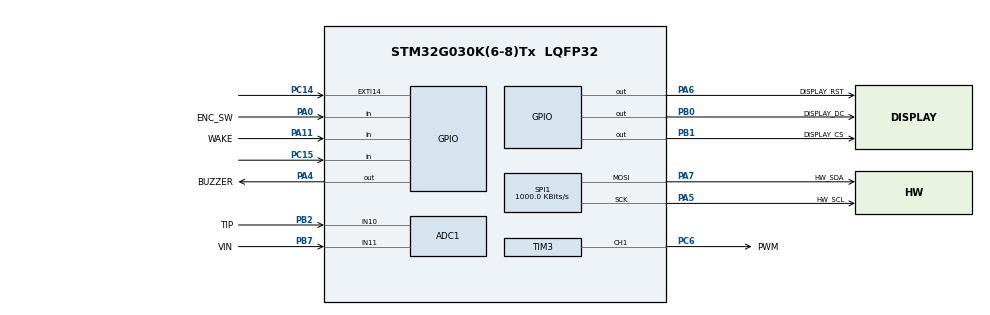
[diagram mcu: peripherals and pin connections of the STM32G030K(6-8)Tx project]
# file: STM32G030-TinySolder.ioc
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ADC1.Channel-1\#ChannelRegularConversion=ADC_CHANNEL_10
ADC1.ClockPrescaler=ADC_CLOCK_SYNC_PCLK_DIV4
ADC1.ContinuousConvMode=DISABLE
ADC1.DMAContinuousRequests=DISABLE
ADC1.DiscontinuousConvMode=DISABLE
ADC1.EOCSelection=ADC_EOC_SINGLE_CONV
ADC1.NbrOfConversion=1
ADC1.NbrOfConversionFlag=1
ADC1.Overrun=ADC_OVR_DATA_OVERWRITTEN
ADC1.Rank-1\#ChannelRegularConversion=1
ADC1.SamplingTime-1\#ChannelRegularConversion=ADC_SAMPLINGTIME_COMMON_1
ADC1.SamplingTimeCommon1=ADC_SAMPLETIME_160CYCLES_5
ADC1.SamplingTimeCommon2=ADC_SAMPLETIME_160CYCLES_5
ADC1.SelectedChannel=ADC_CHANNEL_TEMPSENSOR|ADC_CHANNEL_VREFINT|ADC_CHANNEL_10|ADC_CHANNEL_11
ADC1.Sequencer=FULLY_CONFIGURABLE
ADC1.TriggerFrequencyMode=ADC_TRIGGER_FREQ_LOW
ADC1.master=1
Mcu.Family=STM32G0
Mcu.Name=STM32G030K(6-8)Tx
Mcu.Package=LQFP32
NVIC.EXTI4_15_IRQn=true\:2\:0\:true\:true\:true\:1\:true\:true\:true
NVIC.TIM14_IRQn=true\:3\:0\:true\:true\:true\:2\:true\:true\:true
PA0.GPIO_Label=ENC_SW
PA0.Signal=GPIO_Input
PA11\ [PA9].GPIO_Label=WAKE
PA11\ [PA9].Signal=GPIO_Input
PA13.Mode=Serial_Wire
PA13.Signal=SYS_SWDIO
PA14-BOOT0.Mode=Serial_Wire
PA14-BOOT0.Signal=SYS_SWCLK
PA4.GPIO_Label=BUZZER
PA4.Signal=GPIO_Output
PA5.GPIO_Label=HW_SCL
PA5.Mode=TX_Only_Simplex_Unidirect_Master
PA5.Signal=SPI1_SCK
PA6.GPIO_Label=DISPLAY_RST
PA6.Signal=GPIO_Output
PA7.GPIO_Label=HW_SDA
PA7.Mode=TX_Only_Simplex_Unidirect_Master
PA7.Signal=SPI1_MOSI
PB0.GPIO_Label=DISPLAY_DC
PB0.Signal=GPIO_Output
PB1.GPIO_Label=DISPLAY_CS
PB1.Signal=GPIO_Output
PB2.GPIO_Label=TIP
PB2.Signal=SharedAnalog_PB2
PB7.GPIO_Label=VIN
PB7.Signal=SharedAnalog_PB7
PC14-OSC32_IN\ (PC14).Signal=GPXTI14
PC15-OSC32_OUT\ (PC15).Signal=GPIO_Input
PC6.GPIO_Label=PWM
PC6.Signal=S_TIM3_CH1
ProjectManager.HeapSize=0x200
ProjectManager.StackSize=0x400
ProjectManager.TargetToolchain=MDK-ARM V5.32
RCC.ADCCLockSelection=RCC_ADCCLKSOURCE_HSI
RCC.ADCFreq_Value=16000000
RCC.AHBFreq_Value=16000000
RCC.APB1CLKDivider=RCC_HCLK_DIV2
RCC.CortexFreq_Value=16000000
RCC.EXTERNAL_CLOCK_VALUE=12288000
RCC.HCLKFreq_Value=16000000
RCC.HSE_VALUE=8000000
RCC.HSI_VALUE=16000000
RCC.LSE_VALUE=32768
RCC.SYSCLKFreq_VALUE=16000000
RCC.VCOOutputFreq_Value=128000000
SH.S_TIM3_CH1.0=TIM3_CH1,PWM Generation1 CH1
SH.SharedAnalog_PB2.0=GPIO_Analog
SH.SharedAnalog_PB2.1=ADC1_IN10,IN10
SH.SharedAnalog_PB7.0=GPIO_Analog
SH.SharedAnalog_PB7.1=ADC1_IN11,IN11
SPI1.BaudRatePrescaler=SPI_BAUDRATEPRESCALER_8
SPI1.CLKPhase=SPI_PHASE_2EDGE
SPI1.CLKPolarity=SPI_POLARITY_HIGH
SPI1.CalculateBaudRate=1000.0 KBits/s
SPI1.Direction=SPI_DIRECTION_2LINES
SPI1.Mode=SPI_MODE_MASTER
SPI1.VirtualType=VM_MASTER
TIM14.AutoReloadPreload=TIM_AUTORELOAD_PRELOAD_ENABLE
TIM14.Period=999
TIM14.Prescaler=15
TIM3.AutoReloadPreload=TIM_AUTORELOAD_PRELOAD_DISABLE
TIM3.Channel-PWM\ Generation1\ CH1=TIM_CHANNEL_1
TIM3.OC1Preload_PWM=DISABLE
TIM3.OCFastMode_PWM-PWM\ Generation1\ CH1=TIM_OCFAST_ENABLE
TIM3.Period=1999
TIM3.Prescaler=63
TIM3.Pulse-PWM\ Generation1\ CH1=0
VP_ADC1_TempSens_Input.Mode=IN-TempSens
VP_ADC1_Vref_Input.Mode=IN-Vrefint
VP_TIM14_VS_ClockSourceINT.Mode=Enable_Timer
VP_TIM3_VS_ClockSourceINT.Mode=Internal
board=custom

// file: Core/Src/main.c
/* USER CODE BEGIN Header */
/**
  ******************************************************************************
  * @file           : main.c
  * @brief          : Main program body
  ******************************************************************************
  * @attention
  *
  * Copyright (c) 2025 STMicroelectronics.
  * All rights reserved.
  *
  * This software is licensed under terms that can be found in the LICENSE file
  * in the root directory of this software component.
  * If no LICENSE file comes with this software, it is provided AS-IS.
  *
  ******************************************************************************
  */
/* USER CODE END Header */
#include "main.h"
#include "adc.h"
#include "spi.h"
#include "tim.h"
#include "gpio.h"

/* USER CODE BEGIN Includes */
#include "EventRecorder.h"
#include "stdlib.h"
#include "arm_math.h"
/* USER CODE END Includes */

/* USER CODE BEGIN PTD */

// 烙铁控制状态
typedef enum {
    STATE_HEATING = 0,      // 加热并等待测温间隔
    STATE_PWM_OFF_WAIT_STABLE, // 关闭PWM等待温度稳定
    STATE_MEASURE_TEMP,     // 读取ADC温度
    STATE_CALCULATE_PWM,    // 计算新的PWM
    STATE_UPDATE_DISPLAY    // 更新OLED显示
} T12_Control_State_t;

// 温度校准点 (ADC原始值 -> 实际温度 °C)
// 结构体定义
typedef struct {
    uint16_t adc_val;
    uint16_t temp_c;
} TempCalibrationPoint;

/* USER CODE END PTD */

/* USER CODE BEGIN PD */

// PWM配置
#define PWM_PERIOD          2000 // TIM3 ARR+1, 例如 ARR=1999
#define PWM_MAX_DUTY        (PWM_PERIOD - 1)

// PID 控制参数
#define PID_KP              5.f
#define PID_KI              1.f
#define PID_KD              0.2f
#define PID_INTEGRAL_MAX    1999.0f
#define PID_INTEGRAL_MIN    0.0f
#define PID_DELTA_T         1 // 50ms

#define NUM_CALIBRATION_POINTS (sizeof(temp_calibration_table) / sizeof(TempCalibrationPoint))
#define DEFAULT_TARGET_TEMP 205
#define BANG_BANG_THRESHOLD 20 // 切换PID控制的温差阈值
/* USER CODE END PD */

/* USER CODE BEGIN PV */

// 校准数据表
const TempCalibrationPoint temp_calibration_table[] = {
    {0,    25},       // ADC为0时，近似室温
    {1212, 216},      // 校准点1
    {1696, 308},      // 校准点2
    {2181, 390},      // 校准点3
    // 可以根据需要添加更多点
};

arm_pid_instance_f32 PID = {
        .Kp = PID_KP,
        .Ki = PID_KI * PID_DELTA_T,
        .Kd = PID_KD / PID_DELTA_T
    };

T12_Control_State_t t12_state = STATE_PWM_OFF_WAIT_STABLE;
uint32_t uWTick = 0;   // 自芯片启动以来的ms
uint32_t last_time_check = 0;   // 上次执行时间
const uint32_t ADC_STABLE_WAIT_MS = 1; // 测温稳定等待时间
const uint32_t CONTROL_PERIOD_MS = 100; // 主控制周期

// 存储编码器计数值（旋转步数）
volatile int16_t rotaryCount = 0;
// 存储上一次读取到的 A相/CLK 的状态
volatile uint8_t lastCLKState = 0;

char sprintf_tmp[16];
static u8g2_t u8g2;
uint16_t t12_now = 0, t12_pwm = 0, temp_target = DEFAULT_TARGET_TEMP;
float input, output=0;
// 屏幕刷新计时器和周期
uint32_t last_display_time = 0; // 上次屏幕刷新时间
const uint32_t DISPLAY_PERIOD_MS = 100; // 屏幕刷新周期 100ms
/* USER CODE END PV */

void SystemClock_Config(void);
static void MX_NVIC_Init(void);

int main(void){
  /* USER CODE BEGIN 1 */
  EventRecorderInitialize(EventRecordAll, 1U);
  EventRecorderStart();
  /* USER CODE END 1 */

  /* MCU Configuration--------------------------------------------------------*/

  /* Reset of all peripherals, Initializes the Flash interface and the Systick. */
  LL_APB2_GRP1_EnableClock(LL_APB2_GRP1_PERIPH_SYSCFG);
  LL_APB1_GRP1_EnableClock(LL_APB1_GRP1_PERIPH_PWR);

  /* SysTick_IRQn interrupt configuration */
  NVIC_SetPriority(SysTick_IRQn, 3);

  /* Configure the system clock */
  SystemClock_Config();

  /* USER CODE BEGIN SysInit */
  printf("CPU @ %d Hz\n", SystemCoreClock);
  /* USER CODE END SysInit */

  /* Initialize all configured peripherals */
  MX_GPIO_Init();
  MX_ADC1_Init();
  MX_SPI1_Init();
  MX_TIM3_Init();
  MX_TIM14_Init();

  /* Initialize interrupts */
  MX_NVIC_Init();
  /* USER CODE BEGIN 2 */
  arm_pid_init_f32(&PID, 1);
  Activate_ADC();
  u8g2_Setup_ssd1306_128x64_noname_f(&u8g2, U8G2_R0, u8x8_byte_4wire_hw_spi, u8x8_stm32_gpio_and_delay);
  u8g2_InitDisplay(&u8g2);
  u8g2_SetPowerSave(&u8g2, 0);

  LL_TIM_EnableAllOutputs(TIM3);
  LL_TIM_CC_EnableChannel(TIM3, LL_TIM_CHANNEL_CH1);
  LL_TIM_OC_SetCompareCH1(TIM3, 0);
  LL_TIM_EnableCounter(TIM3);
  LL_TIM_EnableCounter(TIM14);
  LL_TIM_EnableIT_CC1(TIM14);
  /* USER CODE END 2 */

  /* Infinite loop */
  /* USER CODE BEGIN WHILE */
  while (1)
  {
    uint32_t current_time = uWTick;
    Get_Rotary_Step_And_Clear();
    // =========================================================================
    // 状态机控制逻辑
    // =========================================================================

    switch (t12_state)
      {
        case STATE_HEATING:
            // 状态 0: 加热中，等待下一个控制周期
            if (current_time - last_time_check >= CONTROL_PERIOD_MS)
            {
                // 周期时间到，准备进入测温阶段
                LL_TIM_OC_SetCompareCH1(TIM3, 0); // 关闭加热
                last_time_check = current_time; // 重置计时器
                t12_state = STATE_PWM_OFF_WAIT_STABLE; // 切换到等待稳定状态
            }
            break;

        case STATE_PWM_OFF_WAIT_STABLE:
            // 状态 1: 关闭PWM，等待测温稳定
            if (current_time - last_time_check >= ADC_STABLE_WAIT_MS)
            {
                // 等待时间到，开始测温
                t12_state = STATE_MEASURE_TEMP; // 切换到测温状态
            }
            break;

        case STATE_MEASURE_TEMP:
            // 状态 2: 读取ADC温度
            t12_now = calculateTemp(T12_ADC_Read());
            //printf("t12:%d ", t12_now);
            t12_state = STATE_CALCULATE_PWM; // 切换到计算PWM状态
            break;

        case STATE_CALCULATE_PWM:
            // 状态 3: 计算新的PWM值
            {
                int16_t temp_error = (int16_t)temp_target - (int16_t)t12_now;
                if (temp_error > BANG_BANG_THRESHOLD)
                {
                  // 开关控制：全速加热
                  //t12_pwm = 1999;
                  t12_pwm = calculate_pid_pwm(temp_target, t12_now);
                }
                else
                {
                  // PID控制：精确控温
                  t12_pwm = calculate_pid_pwm(temp_target, t12_now);
                }
                SEGGER_RTT_printf(0,"%d %d %d\n", temp_target, t12_now, t12_pwm);
                //printf("err:%d pwm:%d\n", temp_error, t12_pwm);
                LL_TIM_OC_SetCompareCH1(TIM3, t12_pwm); // 应用新的加热功率
            }
            last_time_check = uWTick; // 重新开始计时，用于下一个控制周期
            t12_state = STATE_UPDATE_DISPLAY; // 切换到更新显示状态
            break;

        case STATE_UPDATE_DISPLAY:
            // 状态 4: 更新OLED显示 (可以增加一个更慢的计时器来控制显示频率)
            if (current_time - last_display_time >= DISPLAY_PERIOD_MS)
            {
                u8g2_FirstPage(&u8g2);
                do
                {
                  draw_t12_ui(&u8g2);
                } while (u8g2_NextPage(&u8g2));

                last_display_time = current_time; // 更新屏幕刷新时间
            }
            t12_state = STATE_HEATING; // 切换回加热等待状态，开始下一个周期
            break;

        default:
            // 错误状态处理
            t12_state = STATE_HEATING;
            break;
    }
    /* USER CODE END WHILE */

  }
}

void SystemClock_Config(void)
{
  /* HSI configuration and activation */
  LL_RCC_HSI_Enable();
  while(LL_RCC_HSI_IsReady() != 1)
  {
  }

  /* Set AHB prescaler*/
  LL_RCC_SetAHBPrescaler(LL_RCC_SYSCLK_DIV_1);

  /* Sysclk activation on the HSI */
  LL_RCC_SetSysClkSource(LL_RCC_SYS_CLKSOURCE_HSI);
  while(LL_RCC_GetSysClkSource() != LL_RCC_SYS_CLKSOURCE_STATUS_HSI)
  {
  }

  /* Set APB1 prescaler*/
  LL_RCC_SetAPB1Prescaler(LL_RCC_APB1_DIV_2);

  LL_Init1msTick(16000000);

  /* Update CMSIS variable (which can be updated also through SystemCoreClockUpdate function) */
  LL_SetSystemCoreClock(16000000);
}

/**
  * @brief NVIC Configuration.
  * @retval None
  */
static void MX_NVIC_Init(void)
{
  /* EXTI4_15_IRQn interrupt configuration */
  NVIC_SetPriority(EXTI4_15_IRQn, 2);
  NVIC_EnableIRQ(EXTI4_15_IRQn);
  /* TIM14_IRQn interrupt configuration */
  NVIC_SetPriority(TIM14_IRQn, 3);
  NVIC_EnableIRQ(TIM14_IRQn);
}

/* USER CODE BEGIN 4 */

uint16_t map(int32_t x, int32_t in_min, int32_t in_max, int32_t out_min, int32_t out_max)
{
  // 增加边界检查，防止除以零
  if (in_max == in_min) {
    return out_min;
  }
  return (x - in_min) * (out_max - out_min) / (in_max - in_min) + out_min;
}

uint16_t calculateTemp(uint16_t RawTemp)
{
    // 如果ADC值低于第一个校准点，直接映射
    if (RawTemp <= temp_calibration_table[1].adc_val) {
        return map(RawTemp,
                   temp_calibration_table[0].adc_val,
                   temp_calibration_table[1].adc_val,
                   temp_calibration_table[0].temp_c,
                   temp_calibration_table[1].temp_c);
    }

    // 遍历校准表，找到合适的区间进行线性插值
    for (size_t i = 1; i < NUM_CALIBRATION_POINTS - 1; ++i) {
        if (RawTemp <= temp_calibration_table[i+1].adc_val) {
            return map(RawTemp,
                       temp_calibration_table[i].adc_val,
                       temp_calibration_table[i+1].adc_val,
                       temp_calibration_table[i].temp_c,
                       temp_calibration_table[i+1].temp_c);
        }
    }

    // 如果超出所有范围，则使用最后两个点进行外插
    return map(RawTemp,
               temp_calibration_table[NUM_CALIBRATION_POINTS-2].adc_val,
               temp_calibration_table[NUM_CALIBRATION_POINTS-1].adc_val,
               temp_calibration_table[NUM_CALIBRATION_POINTS-2].temp_c,
               temp_calibration_table[NUM_CALIBRATION_POINTS-1].temp_c);
}

uint16_t calculate_pid_pwm(uint16_t target, uint16_t current)
{
  int16_t error = (int16_t)target - (int16_t)current;
  int16_t output;
  output = arm_pid_f32(&PID, error);
  if (output > PID_INTEGRAL_MAX) {
    output = PID_INTEGRAL_MAX;
  } else if (output < PID_INTEGRAL_MIN) {
    output = PID_INTEGRAL_MIN;
  }
  return (uint16_t)output;
}

/**
 * @brief 获取编码器步数变化值并清零
 * @return 编码器步数变化值（>0 为正转，<0 为反转，=0 为未动）
 */
int16_t Get_Rotary_Step_And_Clear(void)
{
    int16_t step = 0;
    step = rotaryCount;
    if(step > 0)
    {
      temp_target += 5;
    }
    else if(step < 0)
    {
      temp_target -= 5;
    }
    rotaryCount = 0; // 清除计数值
    return step;
}

/**
 * @brief 绘制T12烙铁控制器的UI界面 (适配 128x64 分辨率)
 */
void draw_t12_ui(u8g2_t *u8g2)
{
    u8g2_SetFontMode(u8g2, 1);
    u8g2_SetFontDirection(u8g2, 0);
    u8g2_SetFont(u8g2, u8g2_font_9x15_tr);
    sprintf(sprintf_tmp, "%d %d", Vref_Read(), Vin_Read());
    u8g2_DrawStr(u8g2, 0, 10, sprintf_tmp);
    sprintf(sprintf_tmp, "tmp:%d C", Temp_ADC_Read());
    u8g2_DrawStr(u8g2, 0, 22, sprintf_tmp);
    sprintf(sprintf_tmp, "%3d,%3d,%d%%", temp_target, t12_now, t12_pwm/20);
    u8g2_DrawStr(u8g2, 0, 34, sprintf_tmp);
}

/* USER CODE END 4 */

void Error_Handler(void)
{
  __disable_irq();
  while (1)
  {
  }
}
